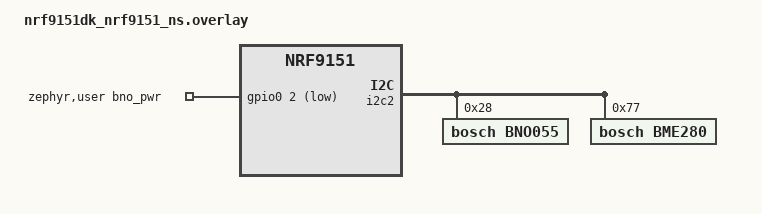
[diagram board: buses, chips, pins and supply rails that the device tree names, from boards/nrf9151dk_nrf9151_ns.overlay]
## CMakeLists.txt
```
# SPDX-License-Identifier: Apache-2.0

cmake_minimum_required(VERSION 3.20.0)

find_package(Zephyr REQUIRED HINTS $ENV{ZEPHYR_BASE})
project(sensor_shell)

target_sources(app PRIVATE
    src/main.c
    src/horse_balance.c
)

target_sources_ifdef(CONFIG_SAMPLES_SENSOR_SHELL_FAKE_SENSOR app PRIVATE
  src/fake_sensor.c
)

target_include_directories(app PRIVATE include)
```

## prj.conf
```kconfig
CONFIG_I2C=y
CONFIG_I2C_NRFX=y
CONFIG_SERIAL=y
CONFIG_CONSOLE=y
CONFIG_UART_CONSOLE=y
CONFIG_SHELL=y
CONFIG_CBPRINTF_FP_SUPPORT=y
CONFIG_LOG=y
CONFIG_SENSOR=y
CONFIG_BME280=y
CONFIG_I2C_SHELL=y
```

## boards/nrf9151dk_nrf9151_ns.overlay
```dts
/ {
    zephyr,user {
        /* GPIO_ACTIVE_LOW：软件写 1 = 有效，硬件脚被拉低 */
        bno_pwr_gpios = <&gpio0 2 GPIO_ACTIVE_LOW>;
    };
};


&i2c2 {
    status = "okay";

    bno055: bno055@28 {
        compatible = "bosch,bno055";
        reg = <0x28>;
        label = "BNO055";
        status = "okay";
    };

    bme280: bme280@77 {
        compatible = "bosch,bme280";
        reg = <0x77>;
        label = "BME280";
        status = "okay";
    };
};
```

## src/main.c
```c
/*
 * Horse balance (BNO055) + BME280 env sensor
 */

#include <zephyr/kernel.h>
#include <zephyr/device.h>
#include <zephyr/devicetree.h>
#include <zephyr/drivers/i2c.h>
#include <zephyr/drivers/sensor.h>
#include <zephyr/drivers/gpio.h>
#include <zephyr/logging/log.h>
#include <math.h>

LOG_MODULE_REGISTER(app, LOG_LEVEL_INF);

/* ==================== BNO055（平衡仪）部分 ==================== */

#define REG_CHIP_ID     0x00
#define REG_OPR_MODE    0x3D
#define REG_PWR_MODE    0x3E
#define MODE_CONFIG     0x00
#define MODE_NDOF       0x0C
#define REG_EUL_H_L     0x1A   /* heading L, then roll, pitch */

/* overlay 里要有：
 * &i2c2 {
 *     status = "okay";
 *
 *     bno055: bno055@28 {
 *         compatible = "bosch,bno055";
 *         reg = <0x28>;
 *         label = "BNO055";
 *         status = "okay";
 *     };
 * };
 */
static const struct i2c_dt_spec bno = I2C_DT_SPEC_GET(DT_NODELABEL(bno055));

static int bno_wr8(uint8_t reg, uint8_t val)
{
	uint8_t buf[2] = { reg, val };
	return i2c_write_dt(&bno, buf, sizeof(buf));
}

static int bno_rd(uint8_t reg, uint8_t *buf, size_t len)
{
	return i2c_write_read_dt(&bno, &reg, 1, buf, len);
}

/* ==================== BME280（温湿度 / 气压）部分 ==================== */

/* overlay 里要有：
 *     bme280: bme280@77 {
 *         compatible = "bosch,bme280";
 *         reg = <0x77>;
 *         label = "BME280";
 *         status = "okay";
 *     };
 */
#define BME280_NODE DT_NODELABEL(bme280)
static const struct device *const bme280_dev = DEVICE_DT_GET(BME280_NODE);

/* ==================== BNO055 电源控制（P-MOS 高边）==================== */
/* overlay 里要有：
 *
 * / {
 *     zephyr,user {
 *         bno-pwr-gpios = <&gpio0 2 GPIO_ACTIVE_LOW>;
 *     };
 * };
 *
 * Gate 接的是 P0.02，通过 P-MOS 给 BNO055 的 VCC 供电：
 *  - ACTIVE_LOW: 写 1 = 有效 = 输出低电平 -> P-MOS 打开 -> BNO 有电
 *  - 写 0 = INACTIVE = 输出高电平 -> P-MOS 关断 -> BNO 断电
 */

#define BNO_PWR_NODE DT_PATH(zephyr_user)
static const struct gpio_dt_spec bno_pwr =
	GPIO_DT_SPEC_GET(BNO_PWR_NODE, bno_pwr_gpios);

static void bno_power(bool on)
{
	/* on == true  -> 逻辑 1(Active) -> 输出低 -> P-MOS 开 -> BNO 有电
	 * on == false -> 逻辑 0(Inactive) -> 输出高 -> P-MOS 关 -> BNO 断电
	 */
	if (!device_is_ready(bno_pwr.port)) {
		LOG_ERR("BNO power GPIO device not ready");
		return;
	}

	gpio_pin_set_dt(&bno_pwr, on ? 1 : 0);
}

/* ==================== 5s / 10s 调度阶段定义 ==================== */

typedef enum {
	HB_PHASE_BME_ONLY = 0,   /* 只读 BME280，BNO 断电 */
	HB_PHASE_BNO_ONLY = 1,   /* 只读 BNO055，BME 暂停 */
} hb_phase_t;

/* 被多个线程访问，用 volatile 简单处理一下 */
static volatile hb_phase_t g_phase = HB_PHASE_BME_ONLY;

/* 把 struct sensor_value 转成 "整数.三位小数" 打印 */
static void print_sensor_value(const char *name,
			       const struct sensor_value *val,
			       const char *unit)
{
	/* val1: 整数部分, val2: 小数部分(1e-6) */
	int32_t whole = val->val1;
	int32_t frac  = val->val2; /* 10^-6 */

	int32_t milli = whole * 1000 + frac / 1000;

	int32_t int_part  = milli / 1000;
	int32_t frac_part = milli % 1000;
	if (frac_part < 0) {
		frac_part = -frac_part;
	}

	LOG_INF("%s = %d.%03d %s", name, int_part, frac_part, unit);
}

/* ==================== BME280 线程 ==================== */

static void bme280_thread(void *p1, void *p2, void *p3)
{
	ARG_UNUSED(p1);
	ARG_UNUSED(p2);
	ARG_UNUSED(p3);

	if (!device_is_ready(bme280_dev)) {
		LOG_ERR("BME280 device not ready");
		return;
	}

	LOG_INF("BME280 thread start");

	struct sensor_value temp, hum, press;
	int ret;

	while (1) {

		/* 如果当前不是 BME-only 阶段，就啥也不干，小睡一下 */
		if (g_phase != HB_PHASE_BME_ONLY) {
			k_sleep(K_MSEC(100));
			continue;
		}

		/* 触发采样 */
		ret = sensor_sample_fetch(bme280_dev);
		if (ret) {
			LOG_ERR("BME280: sensor_sample_fetch failed (%d)", ret);
			k_sleep(K_SECONDS(1));
			continue;
		}

		/* 温度 */
		ret = sensor_channel_get(bme280_dev, SENSOR_CHAN_AMBIENT_TEMP, &temp);
		if (ret == 0) {
			print_sensor_value("Temperature", &temp, "degC");
		} else {
			LOG_ERR("Read temperature failed (%d)", ret);
		}

		/* 湿度 */
		ret = sensor_channel_get(bme280_dev, SENSOR_CHAN_HUMIDITY, &hum);
		if (ret == 0) {
			print_sensor_value("Humidity", &hum, "%%");
		} else {
			LOG_ERR("Read humidity failed (%d)", ret);
		}

		/* 气压 */
		ret = sensor_channel_get(bme280_dev, SENSOR_CHAN_PRESS, &press);
		if (ret == 0) {
			print_sensor_value("Pressure", &press, "kPa");
		} else {
			LOG_ERR("Read pressure failed (%d)", ret);
		}

		/* 每秒跑一次（只在 BME-only 阶段才会进来） */
		k_sleep(K_SECONDS(1));
	}
}

/* 线程创建：栈 2048、优先级 5（比 BNO 线程低一点） */
K_THREAD_DEFINE(bme280_thread_id,
		2048,
		bme280_thread,
		NULL, NULL, NULL,
		5, 0, 0);

/* ==================== BNO055：马背平衡线程 ==================== */

typedef enum {
	STATE_NORMAL = 0,
	STATE_LEFT,   /* 向左倾 */
	STATE_RIGHT,  /* 向右倾 */
	STATE_FRONT,  /* 向前倾 */
	STATE_HIND    /* 向后倾 */
} balance_state_t;

static void bno055_thread(void *p1, void *p2, void *p3)
{
	ARG_UNUSED(p1);
	ARG_UNUSED(p2);
	ARG_UNUSED(p3);

	if (!device_is_ready(bno.bus)) {
		LOG_ERR("I2C bus for BNO055 not ready");
		return;
	}

	while (1) {

		/* 等待到 “BNO-only 阶段” 才工作 */
		if (g_phase != HB_PHASE_BNO_ONLY) {
			k_sleep(K_MSEC(100));
			continue;
		}

		LOG_INF("BNO phase: power-up & init...");

		/* 给 BNO 一点上电时间（主线程已经把 P-MOS 打开） */
		k_msleep(700);

		/* 读 CHIP ID 确认芯片在总线上 */
		uint8_t id = 0;
		int ret = bno_rd(REG_CHIP_ID, &id, 1);
		if (ret || id != 0xA0) {
			LOG_ERR("BNO055 CHIP_ID failed, ret=%d id=0x%02X", ret, id);
			/* 这次 10s 周期就算了，等下一个周期再试 */
			k_sleep(K_SECONDS(1));
			continue;
		}
		LOG_INF("BNO055 OK, id=0x%02X", id);

		/* 配置 BNO055：进入配置模式 -> 正常供电 -> NDOF */
		ret = bno_wr8(REG_OPR_MODE, MODE_CONFIG);
		if (ret) {
			LOG_ERR("BNO055 set CONFIG mode failed (%d)", ret);
			continue;
		}
		k_msleep(20);

		ret = bno_wr8(REG_PWR_MODE, 0x00);
		if (ret) {
			LOG_ERR("BNO055 set PWR_MODE failed (%d)", ret);
			continue;
		}
		k_msleep(10);

		ret = bno_wr8(REG_OPR_MODE, MODE_NDOF);
		if (ret) {
			LOG_ERR("BNO055 set NDOF mode failed (%d)", ret);
			continue;
		}
		k_msleep(50);

		/* ====== 马背平衡监控参数 ====== */

		const float LR_THRESH     = 15.0f; /* 左右阈值 (deg) */
		const float FH_THRESH     = 15.0f; /* 前后阈值 (deg) */
		const uint8_t MIN_SAMPLES = 10;    /* 连续多少帧超限才认为失衡 ≈ 1s */

		bool first_sample = true;
		balance_state_t last_state = STATE_NORMAL;

		/* baseline：第一次读到的 roll / pitch 作为 0 点 */
		float roll0  = 0.0f;
		float pitch0 = 0.0f;

		/* 去抖计数 + 方向 */
		uint8_t lr_over_cnt = 0;
		uint8_t fh_over_cnt = 0;
		int lr_dir = 0;  /* -1=左, +1=右 */
		int fh_dir = 0;  /* -1=前, +1=后 */

		/* 在当前这个 “BNO-only 10 秒窗口” 内循环采样，
		 * 当 main 把 g_phase 切回 BME_ONLY 时，就会跳出这个循环。
		 */
		while (g_phase == HB_PHASE_BNO_ONLY) {
			uint8_t raw[6];

			ret = bno_rd(REG_EUL_H_L, raw, sizeof(raw));
			if (ret) {
				LOG_ERR("BNO055 read EUL failed (%d)", ret);
				k_msleep(100);
				continue;
			}

			int16_t heading_raw = (int16_t)((raw[1] << 8) | raw[0]);
			int16_t roll_raw    = (int16_t)((raw[3] << 8) | raw[2]);
			int16_t pitch_raw   = (int16_t)((raw[5] << 8) | raw[4]);

			float heading = heading_raw / 16.0f;
			float roll    = roll_raw    / 16.0f;
			float pitch   = pitch_raw   / 16.0f;
			(void)heading; /* 暂时不用 heading，避免编译警告 */

			if (first_sample) {
				/* 第一次采样：记录基准，只打印一次 baseline */
				roll0  = roll;
				pitch0 = pitch;
				first_sample = false;
				last_state = STATE_NORMAL;

				LOG_INF("Normal baseline set: roll0=%.2f, pitch0=%.2f",
					(double)roll0, (double)pitch0);
			} else {
				/* 相对 baseline 的偏移 */
				float d_roll  = roll  - roll0;   /* 左右 */
				float d_pitch = pitch - pitch0;  /* 前后 */

				bool lr_over = fabsf(d_roll)  > LR_THRESH;
				bool fh_over = fabsf(d_pitch) > FH_THRESH;

				/* 左右方向的“连续超限”计数 */
				if (lr_over) {
					lr_dir = (d_roll < 0.0f) ? -1 : +1;
					if (lr_over_cnt < 255) {
						lr_over_cnt++;
					}
				} else {
					lr_over_cnt = 0;
				}

				/* 前后方向的“连续超限”计数 */
				if (fh_over) {
					fh_dir = (d_pitch < 0.0f) ? -1 : +1;
					if (fh_over_cnt < 255) {
						fh_over_cnt++;
					}
				} else {
					fh_over_cnt = 0;
				}

				/* 根据连续计数 + 方向 来判定当前状态 */
				balance_state_t cur_state = STATE_NORMAL;

				if (lr_over_cnt >= MIN_SAMPLES &&
				    lr_over_cnt >= fh_over_cnt) {
					cur_state = (lr_dir < 0) ? STATE_LEFT : STATE_RIGHT;
				} else if (fh_over_cnt >= MIN_SAMPLES) {
					cur_state = (fh_dir < 0) ? STATE_FRONT : STATE_HIND;
				}

				/* 在正常范围内，每帧打一条 Normal（你可以以后改成降低频率） */
				if (cur_state == STATE_NORMAL) {
					LOG_INF("Normal");
				}

				/* 只有进入某个失衡状态时，打一条 warning */
				if (cur_state != last_state && cur_state != STATE_NORMAL) {
					switch (cur_state) {
					case STATE_LEFT:
						LOG_WRN("Left–right imbalance: leaning left");
						break;
					case STATE_RIGHT:
						LOG_WRN("Left–right imbalance: leaning right");
						break;
					case STATE_FRONT:
						LOG_WRN("Front–hind imbalance: front-heavy (leaning forward)");
						break;
					case STATE_HIND:
						LOG_WRN("Front–hind imbalance: hind-heavy (leaning backward)");
						break;
					default:
						break;
					}
				}

				last_state = cur_state;
			}

			/* 100 ms 一帧 */
			k_msleep(100);
		}

		LOG_INF("BNO phase ended, waiting for next cycle...");
	}
}

/* BNO055 线程：栈 2048、优先级 4（比 BME 高一点） */
K_THREAD_DEFINE(bno055_thread_id,
		2048,
		bno055_thread,
		NULL, NULL, NULL,
		4, 0, 0);

/* ==================== main：做 5s / 10s 调度 ==================== */

void main(void)
{
	int ret;

	LOG_INF("Horse balance (BNO055) + BME280 app start");

	/* 配置 BNO 电源控制 GPIO：初始先关 */
	if (!device_is_ready(bno_pwr.port)) {
		LOG_ERR("BNO power GPIO device not ready");
		return;
	}

	ret = gpio_pin_configure_dt(&bno_pwr, GPIO_OUTPUT_INACTIVE);
	if (ret) {
		LOG_ERR("Failed to config BNO power GPIO (%d)", ret);
		return;
	}

	/* 初始进入 BME-only 阶段，BNO 断电 */
	g_phase = HB_PHASE_BME_ONLY;
	bno_power(false);
	LOG_INF("Start in BME-only phase");

	while (1) {
		/* 1) 先 5 秒：只读温湿度（BME-only） */
		g_phase = HB_PHASE_BME_ONLY;
		bno_power(false);
		LOG_INF("Phase: BME-only for 5 seconds");
		k_sleep(K_SECONDS(5));

		/* 2) 再 10 秒：只读平衡仪（BNO-only） */
		bno_power(true);
		g_phase = HB_PHASE_BNO_ONLY;
		LOG_INF("Phase: BNO-only for 10 seconds");
		k_sleep(K_SECONDS(10));
	}
}
```

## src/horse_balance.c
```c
#include "horse_balance.h"
#include <zephyr/kernel.h>
#include <math.h>

static float absf(float x) { return x < 0.0f ? -x : x; }

void horse_balance_init(horse_balance_t *hb,
                        float lr_thresh_deg,
                        float fh_thresh_deg)
{
    hb->baseline_set  = false;
    hb->heading0 = hb->roll0 = hb->pitch0 = 0.0f;

    hb->lr_thresh_deg = lr_thresh_deg;
    hb->fh_thresh_deg = fh_thresh_deg;

    hb->state = HB_STATE_BALANCED;
    hb->last_change_ts = 0;
    hb->last_roll = hb->last_pitch = 0.0f;
}

void horse_balance_clear_baseline(horse_balance_t *hb)
{
    hb->baseline_set = false;
}

/* 内部：根据 Δroll / Δpitch 判定状态 */
static hb_state_t decide_state(const horse_balance_t *hb,
                               float d_roll, float d_pitch)
{
    float a_roll  = absf(d_roll);
    float a_pitch = absf(d_pitch);

    bool lr = a_roll  >= hb->lr_thresh_deg;
    bool fh = a_pitch >= hb->fh_thresh_deg;

    if (!lr && !fh) {
        return HB_STATE_BALANCED;
    }

    /* 哪个偏移更大就算哪一类（也可以以后细分“偏左/偏右”、“偏前/偏后”） */
    if (lr && (!fh || a_roll >= a_pitch)) {
        return HB_STATE_LR_IMBALANCE;
    } else {
        return HB_STATE_FH_IMBALANCE;
    }
}

hb_state_t horse_balance_update(horse_balance_t *hb,
                                float heading,
                                float roll,
                                float pitch,
                                bool *changed_if_nonnull)
{
    if (changed_if_nonnull) {
        *changed_if_nonnull = false;
    }

    /* 第一次调用：记录 baseline，不判定不报警 */
    if (!hb->baseline_set) {
        hb->heading0 = heading;
        hb->roll0    = roll;
        hb->pitch0   = pitch;
        hb->baseline_set = true;
        hb->state = HB_STATE_BALANCED;
        hb->last_change_ts = k_uptime_get_32();
        return hb->state;
    }

    float d_roll  = roll  - hb->roll0;
    float d_pitch = pitch - hb->pitch0;

    hb_state_t new_state = decide_state(hb, d_roll, d_pitch);

    if (new_state != hb->state) {
        hb->state = new_state;
        hb->last_change_ts = k_uptime_get_32();
        hb->last_roll  = roll;
        hb->last_pitch = pitch;
        if (changed_if_nonnull) {
            *changed_if_nonnull = true;
        }
    }

    return hb->state;
}
```
